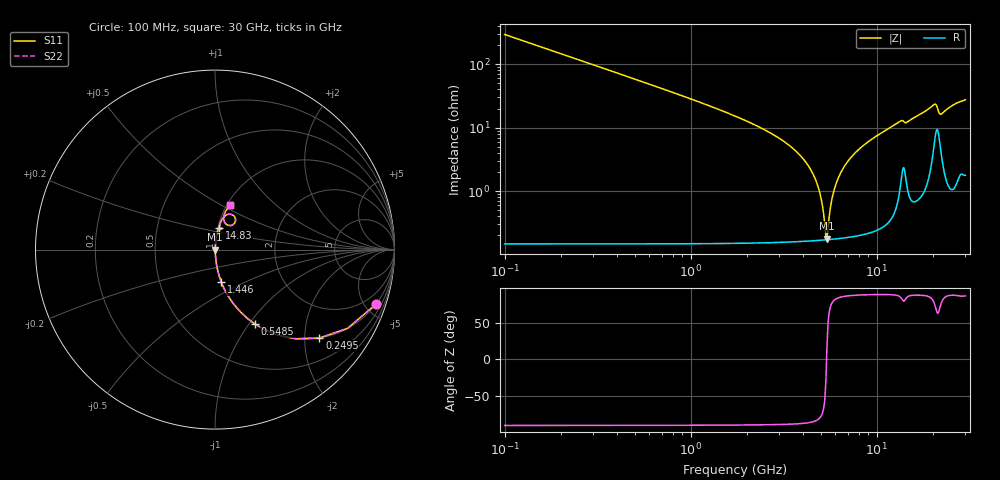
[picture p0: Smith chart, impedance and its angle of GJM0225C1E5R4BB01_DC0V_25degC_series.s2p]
!Murata Part Number: GJM0225C1E5R4BB01
!These Parameters are Measured in Series Mode Connection
!  o--ll--o
!Port1  Port2
!  o------o
!Operation Temp=25[degC], DC Bias Voltage=0[V]
!Freq. Start=100[MHz] Stop=30[GHz], 401[Steps]
!Data Generated on Feb 1, 2023
# Hz S RI R 50
!Freq.(Hz) S11(Real) S11(Imag) S21(Real) S21(Imag) S12(Real) S12(Imag) S22(Real) S22(Imag)
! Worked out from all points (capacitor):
!   401 points, 100 MHz to 30 GHz, reference 50 ohm
!   read as one part in series: C = 5.4 pF near 249.5 MHz
!   lowest |Z| = 179 mohm at 5.407 GHz (marker M1)
!   series resonance near 5.382 GHz, so ESL is about 160 pH
!   S11 on the Smith chart (normalised r, x): 100 MHz: 1.00, -5.89; 249.5 MHz: 1.00, -2.36; 548.5 MHz: 1.00, -1.06; 1.446 GHz: 1.00, -0.38; 14.83 GHz: 1.02, +0.25; 30 GHz: 1.04, +0.55
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1e8  0.8966 -0.3043  0.1034 0.3043  0.1034 0.3043  0.8966 -0.3043
2.495e8  0.5814 -0.4927  0.4186 0.4927  0.4186 0.4927  0.5814 -0.4927
5.485e8  0.2211 -0.4136  0.7789 0.4136  0.7789 0.4136  0.2211 -0.4136
8.475e8  0.1042 -0.3034  0.8958 0.3034  0.8958 0.3034  0.1042 -0.3034
1.4455e9  0.0359 -0.1822  0.9641 0.1822  0.9641 0.1822  0.0359 -0.1822
4.1365e9  0.00247 -0.0291  0.9975 0.0291  0.9975 0.0291  0.00247 -0.0291
4.7345e9  0.00186 -0.0141  0.9981 0.0141  0.9981 0.0141  0.00186 -0.0141
5.10825e9  0.00172 -0.00571  0.9983 0.00571  0.9983 0.00571  0.00172 -0.00571
5.25775e9  0.0017 -0.00255  0.9983 0.00255  0.9983 0.00255  0.0017 -0.00255
5.40725e9  0.00171 0.000525  0.9983 -0.000525  0.9983 -0.000525  0.00171 0.000525
5.9305e9  0.00187 0.0107  0.9981 -0.0107  0.9981 -0.0107  0.00187 0.0107
6.678e9  0.0024 0.0239  0.9976 -0.0239  0.9976 -0.0239  0.0024 0.0239
8.0235e9  0.00404 0.0452  0.996 -0.0452  0.996 -0.0452  0.00404 0.0452
1.01165e10  0.00809 0.0749  0.9919 -0.0749  0.9919 -0.0749  0.00809 0.0749
1.34055e10  0.0267 0.1213  0.9733 -0.1213  0.9733 -0.1213  0.0267 0.1213
1.482575e10  0.0243 0.122  0.9757 -0.122  0.9757 -0.122  0.0243 0.122
1.505e10  0.0241 0.126  0.9759 -0.126  0.9759 -0.126  0.0241 0.126
2.005825e10  0.0785 0.1973  0.9215 -0.1973  0.9215 -0.1973  0.0785 0.1973
2.080575e10  0.1117 0.1783  0.8883 -0.1783  0.8883 -0.1783  0.1117 0.1783
2.200175e10  0.0674 0.1381  0.9326 -0.1381  0.9326 -0.1381  0.0674 0.1381
2.50665e10  0.0537 0.2022  0.9463 -0.2022  0.9463 -0.2022  0.0537 0.2022
3e10  0.0849 0.2485  0.9151 -0.2485  0.9151 -0.2485  0.0849 0.2485
